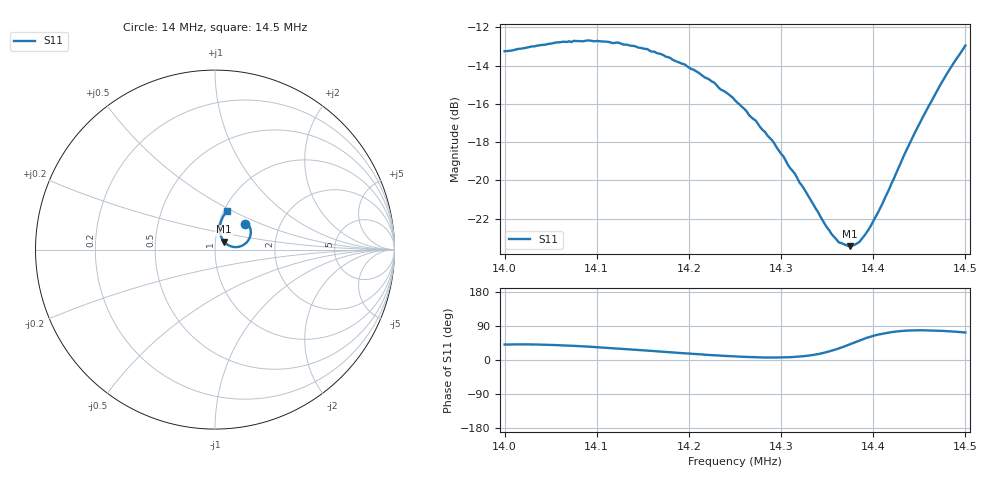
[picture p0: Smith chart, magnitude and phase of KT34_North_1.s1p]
# MHz S RI R 50
! S-Parameters data
! Freq  reS11  imS11
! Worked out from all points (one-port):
!   201 points, 14 MHz to 14.5 MHz, reference 50 ohm
!   lowest |S11| = -23.4 dB at 14.375 MHz (marker M1), VSWR 1.14, Z = 55.1 + j4.95 ohm
!   |S11| at or under -10 dB: start of sweep to end of sweep
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14  0.1647 0.1419
14.03  0.1688 0.1471
14.0625  0.1797 0.1436
14.0925  0.1901 0.133
14.125  0.198 0.114
14.155  0.2 0.0922
14.1875  0.193 0.0661
14.195  0.1916 0.061
14.2275  0.1758 0.0387
14.2325  0.1706 0.0361
14.2425  0.1655 0.0305
14.25  0.1596 0.0268
14.2625  0.1501 0.0213
14.2675  0.145 0.0192
14.2725  0.1421 0.0182
14.2775  0.1365 0.0169
14.29  0.1266 0.0147
14.3125  0.1048 0.0144
14.355  0.0656 0.0301
14.3625  0.0594 0.0349
14.375  0.0502 0.0448
14.385  0.0432 0.0538
14.3975  0.036 0.0671
14.41  0.0306 0.0813
14.4375  0.0262 0.119
14.455  0.03 0.1451
14.4725  0.0392 0.1727
14.5  0.0675 0.2148
